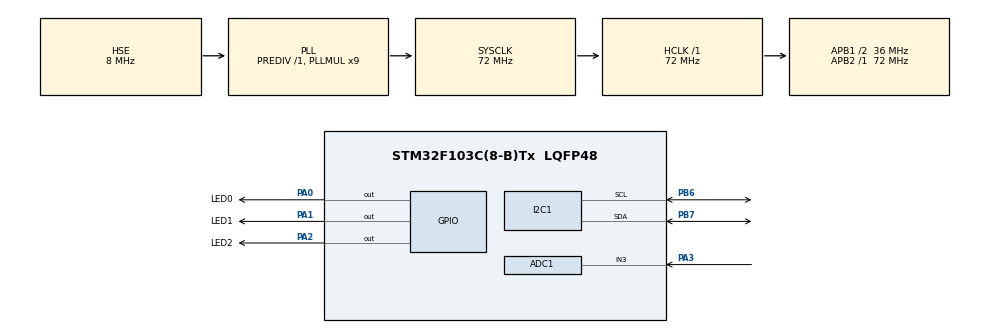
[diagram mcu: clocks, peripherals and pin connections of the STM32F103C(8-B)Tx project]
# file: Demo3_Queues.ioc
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ADC1.Channel-3\#ChannelRegularConversion=ADC_CHANNEL_3
ADC1.ContinuousConvMode=ENABLE
ADC1.NbrOfConversionFlag=1
ADC1.Rank-3\#ChannelRegularConversion=1
ADC1.SamplingTime-3\#ChannelRegularConversion=ADC_SAMPLETIME_1CYCLE_5
ADC1.master=1
FREERTOS.Queues01=xLightQueue,10,uint16_t,0,Static,xLightQueueBuffer,xLightQueueControlBlock;xDisplayQueue,5,DisplayData_t,0,Static,xDisplayQueueBuffer,xDisplayQueueControlBlock
FREERTOS.Tasks01=Sensor_Task,24,128,StarSensorTask,Default,NULL,Static,Sensor_TaskBuffer,Sensor_TaskControlBlock;Process_Task,8,128,StartProcessTask,Default,NULL,Static,Process_TaskBuffer,Process_TaskControlBlock;Display_Task,8,128,StartDisplayTask,Default,NULL,Static,Display_TaskBuffer,Display_TaskControlBlock
FREERTOS.configUSE_NEWLIB_REENTRANT=1
I2C1.I2C_Mode=I2C_Fast
Mcu.Family=STM32F1
Mcu.Name=STM32F103C(8-B)Tx
Mcu.Package=LQFP48
NVIC.PriorityGroup=NVIC_PRIORITYGROUP_4
NVIC.TIM2_IRQn=true\:15\:0\:false\:false\:true\:false\:false\:true\:true
NVIC.TimeBase=TIM2_IRQn
NVIC.TimeBaseIP=TIM2
PA0-WKUP.GPIO_Label=LED0
PA0-WKUP.PinState=GPIO_PIN_SET
PA0-WKUP.Signal=GPIO_Output
PA1.GPIO_Label=LED1
PA1.PinState=GPIO_PIN_SET
PA1.Signal=GPIO_Output
PA13.Mode=Serial_Wire
PA13.Signal=SYS_JTMS-SWDIO
PA14.Mode=Serial_Wire
PA14.Signal=SYS_JTCK-SWCLK
PA2.GPIO_Label=LED2
PA2.PinState=GPIO_PIN_SET
PA2.Signal=GPIO_Output
PA3.Signal=ADCx_IN3
PB6.Mode=I2C
PB6.Signal=I2C1_SCL
PB7.Mode=I2C
PB7.Signal=I2C1_SDA
PD0-OSC_IN.Mode=HSE-External-Oscillator
PD0-OSC_IN.Signal=RCC_OSC_IN
PD1-OSC_OUT.Mode=HSE-External-Oscillator
PD1-OSC_OUT.Signal=RCC_OSC_OUT
ProjectManager.HeapSize=0x200
ProjectManager.StackSize=0x400
ProjectManager.TargetToolchain=STM32CubeIDE
RCC.ADCPresc=RCC_ADCPCLK2_DIV6
RCC.AHBFreq_Value=72000000
RCC.APB1CLKDivider=RCC_HCLK_DIV2
RCC.APB1Freq_Value=36000000
RCC.APB1TimFreq_Value=72000000
RCC.APB2Freq_Value=72000000
RCC.APB2TimFreq_Value=72000000
RCC.HCLKFreq_Value=72000000
RCC.PLLMUL=RCC_PLL_MUL9
RCC.PLLSourceVirtual=RCC_PLLSOURCE_HSE
RCC.SYSCLKFreq_VALUE=72000000
RCC.SYSCLKSource=RCC_SYSCLKSOURCE_PLLCLK
RCC.USBFreq_Value=72000000
SH.ADCx_IN3.0=ADC1_IN3,IN3
VP_FREERTOS_VS_CMSIS_V2.Mode=CMSIS_V2
VP_SYS_VS_tim2.Mode=TIM2
board=custom

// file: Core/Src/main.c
/* USER CODE BEGIN Header */
/**
  ******************************************************************************
  * @file           : main.c
  * @brief          : Main program body
  ******************************************************************************
  * @attention
  *
  * Copyright (c) 2025 STMicroelectronics.
  * All rights reserved.
  *
  * This software is licensed under terms that can be found in the LICENSE file
  * in the root directory of this software component.
  * If no LICENSE file comes with this software, it is provided AS-IS.
  *
  ******************************************************************************
  */
/* USER CODE END Header */
#include "main.h"
#include "cmsis_os.h"
#include "adc.h"
#include "i2c.h"
#include "gpio.h"

/* USER CODE BEGIN Includes */
#include "oled.h"
#include "sensor.h"
/* USER CODE END Includes */

void SystemClock_Config(void);
void MX_FREERTOS_Init(void);

int main(void)
{

  /* MCU Configuration--------------------------------------------------------*/

  /* Reset of all peripherals, Initializes the Flash interface and the Systick. */
  HAL_Init();

  /* Configure the system clock */
  SystemClock_Config();

  /* Initialize all configured peripherals */
  MX_GPIO_Init();
  MX_ADC1_Init();
  MX_I2C1_Init();
  /* USER CODE BEGIN 2 */
  /*光敏电阻ADC初始化*/
  BSP_LightSensor_Init();

  /*OLED初始化*/
  HAL_Delay(20);
  OLED_Init();
  /* USER CODE END 2 */

  /* Init scheduler */
  osKernelInitialize();

  /* Call init function for freertos objects (in cmsis_os2.c) */
  MX_FREERTOS_Init();

  /* Start scheduler */
  osKernelStart();

  /* We should never get here as control is now taken by the scheduler */

  /* Infinite loop */
  while (1)
  {

  }
}

void SystemClock_Config(void)
{
  RCC_OscInitTypeDef RCC_OscInitStruct = {0};
  RCC_ClkInitTypeDef RCC_ClkInitStruct = {0};
  RCC_PeriphCLKInitTypeDef PeriphClkInit = {0};

  /** Initializes the RCC Oscillators according to the specified parameters
  * in the RCC_OscInitTypeDef structure.
  */
  RCC_OscInitStruct.OscillatorType = RCC_OSCILLATORTYPE_HSE;
  RCC_OscInitStruct.HSEState = RCC_HSE_ON;
  RCC_OscInitStruct.HSEPredivValue = RCC_HSE_PREDIV_DIV1;
  RCC_OscInitStruct.HSIState = RCC_HSI_ON;
  RCC_OscInitStruct.PLL.PLLState = RCC_PLL_ON;
  RCC_OscInitStruct.PLL.PLLSource = RCC_PLLSOURCE_HSE;
  RCC_OscInitStruct.PLL.PLLMUL = RCC_PLL_MUL9;
  if (HAL_RCC_OscConfig(&RCC_OscInitStruct) != HAL_OK)
  {
    Error_Handler();
  }

  /** Initializes the CPU, AHB and APB buses clocks
  */
  RCC_ClkInitStruct.ClockType = RCC_CLOCKTYPE_HCLK|RCC_CLOCKTYPE_SYSCLK
                              |RCC_CLOCKTYPE_PCLK1|RCC_CLOCKTYPE_PCLK2;
  RCC_ClkInitStruct.SYSCLKSource = RCC_SYSCLKSOURCE_PLLCLK;
  RCC_ClkInitStruct.AHBCLKDivider = RCC_SYSCLK_DIV1;
  RCC_ClkInitStruct.APB1CLKDivider = RCC_HCLK_DIV2;
  RCC_ClkInitStruct.APB2CLKDivider = RCC_HCLK_DIV1;

  if (HAL_RCC_ClockConfig(&RCC_ClkInitStruct, FLASH_LATENCY_2) != HAL_OK)
  {
    Error_Handler();
  }
  PeriphClkInit.PeriphClockSelection = RCC_PERIPHCLK_ADC;
  PeriphClkInit.AdcClockSelection = RCC_ADCPCLK2_DIV6;
  if (HAL_RCCEx_PeriphCLKConfig(&PeriphClkInit) != HAL_OK)
  {
    Error_Handler();
  }
}

void HAL_TIM_PeriodElapsedCallback(TIM_HandleTypeDef *htim)
{
  if (htim->Instance == TIM2) {
    HAL_IncTick();
  }
}

void Error_Handler(void)
{
  __disable_irq();
  while (1)
  {
  }
}

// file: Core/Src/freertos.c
/* USER CODE BEGIN Header */
/**
  ******************************************************************************
  * File Name          : freertos.c
  * Description        : Code for freertos applications
  ******************************************************************************
  * @attention
  *
  * Copyright (c) 2025 STMicroelectronics.
  * All rights reserved.
  *
  * This software is licensed under terms that can be found in the LICENSE file
  * in the root directory of this software component.
  * If no LICENSE file comes with this software, it is provided AS-IS.
  *
  ******************************************************************************
  */
/* USER CODE END Header */

#include "FreeRTOS.h"
#include "task.h"
#include "main.h"
#include "cmsis_os.h"

/* USER CODE BEGIN Includes */
#include <stdio.h>

#include "oled.h"
#include "led.h"
#include "sensor.h"
#include "queue.h"
/* USER CODE END Includes */

typedef StaticTask_t osStaticThreadDef_t;
typedef StaticQueue_t osStaticMessageQDef_t;

/* USER CODE BEGIN Variables */
/* 显示数据结构体 */
typedef struct {
  uint16_t light_value;
  uint8_t led_status;
} DisplayData_t;

// 在 Process_Task 中定义校准值
const uint16_t ADC_MAX = 3800;  // 全暗时的ADC值
const uint16_t ADC_MIN = 200;   // 全亮时的ADC值

/* USER CODE END Variables */
/* Definitions for Sensor_Task */
osThreadId_t Sensor_TaskHandle;
uint32_t Sensor_TaskBuffer[ 128 ];
osStaticThreadDef_t Sensor_TaskControlBlock;
const osThreadAttr_t Sensor_Task_attributes = {
  .name = "Sensor_Task",
  .cb_mem = &Sensor_TaskControlBlock,
  .cb_size = sizeof(Sensor_TaskControlBlock),
  .stack_mem = &Sensor_TaskBuffer[0],
  .stack_size = sizeof(Sensor_TaskBuffer),
  .priority = (osPriority_t) osPriorityNormal,
};
/* Definitions for Process_Task */
osThreadId_t Process_TaskHandle;
uint32_t Process_TaskBuffer[ 128 ];
osStaticThreadDef_t Process_TaskControlBlock;
const osThreadAttr_t Process_Task_attributes = {
  .name = "Process_Task",
  .cb_mem = &Process_TaskControlBlock,
  .cb_size = sizeof(Process_TaskControlBlock),
  .stack_mem = &Process_TaskBuffer[0],
  .stack_size = sizeof(Process_TaskBuffer),
  .priority = (osPriority_t) osPriorityLow,
};
/* Definitions for Display_Task */
osThreadId_t Display_TaskHandle;
uint32_t Display_TaskBuffer[ 128 ];
osStaticThreadDef_t Display_TaskControlBlock;
const osThreadAttr_t Display_Task_attributes = {
  .name = "Display_Task",
  .cb_mem = &Display_TaskControlBlock,
  .cb_size = sizeof(Display_TaskControlBlock),
  .stack_mem = &Display_TaskBuffer[0],
  .stack_size = sizeof(Display_TaskBuffer),
  .priority = (osPriority_t) osPriorityLow,
};
/* Definitions for xLightQueue */
osMessageQueueId_t xLightQueueHandle;
uint8_t xLightQueueBuffer[ 10 * sizeof( uint16_t ) ];
osStaticMessageQDef_t xLightQueueControlBlock;
const osMessageQueueAttr_t xLightQueue_attributes = {
  .name = "xLightQueue",
  .cb_mem = &xLightQueueControlBlock,
  .cb_size = sizeof(xLightQueueControlBlock),
  .mq_mem = &xLightQueueBuffer,
  .mq_size = sizeof(xLightQueueBuffer)
};
/* Definitions for xDisplayQueue */
osMessageQueueId_t xDisplayQueueHandle;
uint8_t xDisplayQueueBuffer[ 5 * sizeof( DisplayData_t ) ];
osStaticMessageQDef_t xDisplayQueueControlBlock;
const osMessageQueueAttr_t xDisplayQueue_attributes = {
  .name = "xDisplayQueue",
  .cb_mem = &xDisplayQueueControlBlock,
  .cb_size = sizeof(xDisplayQueueControlBlock),
  .mq_mem = &xDisplayQueueBuffer,
  .mq_size = sizeof(xDisplayQueueBuffer)
};

/* USER CODE BEGIN FunctionPrototypes */
static uint8_t CalculateDarknessPercent(uint16_t adc_value);

/* USER CODE END FunctionPrototypes */

void StarSensorTask(void *argument);
void StartProcessTask(void *argument);
void StartDisplayTask(void *argument);
static void DrawCoordinateGrid(uint8_t start_y, uint8_t height);

void MX_FREERTOS_Init(void); /* (MISRA C 2004 rule 8.1) */

void MX_FREERTOS_Init(void) {

  /* Create the queue(s) */
  /* creation of xLightQueue */
  xLightQueueHandle = osMessageQueueNew (10, sizeof(uint16_t), &xLightQueue_attributes);

  /* creation of xDisplayQueue */
  xDisplayQueueHandle = osMessageQueueNew (5, sizeof(DisplayData_t), &xDisplayQueue_attributes);

  /* Create the thread(s) */
  /* creation of Sensor_Task */
  Sensor_TaskHandle = osThreadNew(StarSensorTask, NULL, &Sensor_Task_attributes);

  /* creation of Process_Task */
  Process_TaskHandle = osThreadNew(StartProcessTask, NULL, &Process_Task_attributes);

  /* creation of Display_Task */
  Display_TaskHandle = osThreadNew(StartDisplayTask, NULL, &Display_Task_attributes);

}

void StarSensorTask(void *argument)
{
  /* USER CODE BEGIN StarSensorTask */
  uint16_t adc_value;
  /* Infinite loop */
  for (;;) {
    // 读取滤波后的光强数据
    adc_value = BSP_LightSensor_ReadFiltered();
    // 发送到队列（非阻塞，超时100ms）
    if (xQueueSend(xLightQueueHandle, &adc_value, pdMS_TO_TICKS(100)) != pdPASS) {
      // 处理队列满错误（如LED闪烁报警）
    }
    osDelay(pdMS_TO_TICKS(100)); //100ms采样周期
  }
  /* USER CODE END StarSensorTask */
}

void StartProcessTask(void *argument)
{
  /* USER CODE BEGIN StartProcessTask */
  DisplayData_t display_data;
  uint16_t adc_value;
  /* Infinite loop */
  for (;;) {
    if (xQueueReceive(xLightQueueHandle, &adc_value, portMAX_DELAY) == pdPASS) {
      // 关闭所有LED
      LED_Off(0);
      LED_Off(1);
      LED_Off(2);

      // 计算光照强度百分比（值越大，光照越弱），带饱和与下限保护
      uint8_t darkness_percent = CalculateDarknessPercent(adc_value);
      // uint8_t darkness_percent = (adc_value - ADC_MIN) * 100 / (ADC_MAX - ADC_MIN);

      // 根据黑暗百分比点亮LED
      if (darkness_percent >= 75) {      // 全暗：三灯全亮
        LED_On(0);
        LED_On(1);
        LED_On(2);
        display_data.led_status = 0x07; // 二进制 00000111
      } else if (darkness_percent >= 50) { // 较暗：亮两灯
        LED_On(0);
        LED_On(1);
        display_data.led_status = 0x03;  // 00000011
      } else if (darkness_percent >= 25) { // 中等：亮一灯
        LED_On(0);
        display_data.led_status = 0x01;  // 00000001
      } else {                            // 全亮：全灭
        display_data.led_status = 0x00;  // 00000000
      }

      // 发送数据到显示队列
      display_data.light_value = adc_value;
      xQueueSend(xDisplayQueueHandle, &display_data, 0);
    }
  }
  /* USER CODE END StartProcessTask */
}

/* USER CODE END PrivateFunctions */

void StartDisplayTask(void *argument)
{
  /* USER CODE BEGIN StartDisplayTask */
  // 定义显示相关的变量
  DisplayData_t display_data;         // 显示任务需要的数据（光强 + LED 状态）
  char str_buf[16];                   // 百分比字符串缓冲区
  static uint8_t history_index = 0;   // 光强曲线的写入索引
  static uint8_t light_history[128] = {0}; // 存储最近 128 次采样的映射值
  const ASCIIFont *small_font = &afont8x6; // 使用 6x8 字体显示顶部文字

  // 曲线显示区域参数定义
  const uint8_t graph_start_y = 16;   // 曲线区域起始y坐标
  const uint8_t graph_height = 48;    // 曲线区域高度
  const uint8_t graph_end_y = graph_start_y + graph_height; // 曲线区域结束y坐标

  // 初始化OLED显示
  OLED_NewFrame();                    // 创建新的显示帧
  OLED_PrintASCIIString(0, 0, "Dark:", small_font, OLED_COLOR_NORMAL); // 显示固定标签"Dark:"

  // 绘制初始坐标网格
  // DrawCoordinateGrid(graph_start_y, graph_height);

  OLED_ShowFrame();                   // 将帧内容显示到OLED屏幕上

  // 任务主循环
  for (;;) {
    // 从显示队列接收数据，无限等待直到有数据
    if (xQueueReceive(xDisplayQueueHandle, &display_data, portMAX_DELAY) == pdPASS) {
      // 1. 计算光强对应的黑暗百分比
      uint8_t darkness = CalculateDarknessPercent(display_data.light_value);
      // 将百分比转换为字符串，格式化为三位数加百分号
      snprintf(str_buf, sizeof(str_buf), "%3d%%", darkness);

      // 计算显示位置参数
      const uint8_t label_width = 5 * small_font->w;      // "Dark:"标签的宽度
      const uint8_t value_x = label_width;                // 百分比数值的起始x坐标
      const uint8_t value_width = 4 * small_font->w;      // 百分比数值的宽度

      // 2. 刷新"百分比"显示区域
      // 先用反色矩形清除原来的显示区域
      OLED_DrawFilledRectangle(value_x, 0, value_width - 1, small_font->h, OLED_COLOR_REVERSED);
      // 显示新的百分比数值
      OLED_PrintASCIIString(value_x, 0, str_buf, small_font, OLED_COLOR_NORMAL);

      // 3. 刷新三个小圆形LED指示灯的显示
      const uint8_t led_radius = 2;                       // LED圆形半径
      const uint8_t led_spacing = 10;                     // LED之间的间距
      const uint8_t led_start_x = value_x + value_width + 20; // 第一个LED的x坐标
      const uint8_t led_y = 2;                            // LED的y坐标

      const uint8_t leftmost_x = led_start_x - led_radius;    // LED区域最左侧坐标
      const uint8_t rightmost_x = led_start_x + 2 * (2 * led_radius + led_spacing) + led_radius; // LED区域最右侧坐标
      const uint8_t led_area_w = rightmost_x - leftmost_x + 1; // LED显示区域的宽度
      const uint8_t led_area_h = (uint8_t)(2 * led_radius + 1); // LED显示区域的高度

      // 清除LED显示区域
      OLED_DrawFilledRectangle(leftmost_x, led_y - led_radius, led_area_w - 1, led_area_h, OLED_COLOR_REVERSED);

      // 绘制三个LED指示灯
      for (uint8_t i = 0; i < 3; i++) {
        uint8_t cx = led_start_x + i * (2 * led_radius + led_spacing); // 计算每个LED的x中心坐标
        if (display_data.led_status & (1 << i)) {
          // 如果对应位为1，显示点亮的LED（实心圆）
          OLED_DrawFilledCircle(cx, led_y, led_radius, OLED_COLOR_NORMAL);
        } else {
          // 如果对应位为0，显示熄灭的LED（空心圆）
          OLED_DrawCircle(cx, led_y, led_radius, OLED_COLOR_NORMAL);
        }
      }

      // 4. 更新光强曲线缓冲并重新绘制
      // 将ADC数值(0-4095)映射到显示高度(0-graph_height)
      int32_t scaled = (int32_t)display_data.light_value * graph_height / 4095;
      // 反转y轴方向，使光强越强，曲线越低（符合直觉）
      int32_t curve_value = graph_height - scaled;
      // 限制曲线值在有效范围内
      if (curve_value < 0) {
        curve_value = 0;
      } else if (curve_value > graph_height) {
        curve_value = graph_height;
      }

      // 对当前采样点进行平滑处理
      // 如果历史数组中已有数据，计算与前一个值的平均值以平滑过渡
      if (history_index > 0 || light_history[127] > 0) {
        uint8_t prev_idx = (history_index == 0) ? 127 : (history_index - 1);
        uint8_t prev_value = light_history[prev_idx];
        // 限制变化率，使曲线平滑
        int16_t diff = (int16_t)curve_value - prev_value;
        if (diff > 3) curve_value = prev_value + 3;
        else if (diff < -3) curve_value = prev_value - 3;
      }

      // 存储当前采样点到历史数组
      light_history[history_index] = (uint8_t)curve_value;
      // 循环更新索引，形成环形缓冲区
      history_index = (history_index + 1) % 128;

      // 清除曲线显示区域，保留网格线
      OLED_DrawFilledRectangle(0, graph_start_y, 127, graph_height, OLED_COLOR_REVERSED);

      // 重新绘制坐标网格
      // DrawCoordinateGrid(graph_start_y, graph_height);

      // 绘制光强曲线，使用线段连接点，而不仅仅是点
      uint8_t prev_x = 0;
      uint8_t prev_y = graph_start_y + light_history[(history_index) % 128];

      for (uint8_t x = 1; x < 128; x++) {
        // 计算对应的历史数据索引
        uint8_t data_idx = (history_index + x) % 128;
        // 计算y坐标（曲线上的点）
        uint8_t y = graph_start_y + light_history[data_idx];

        // 确保y在有效范围内并绘制线段
        if (y < 64 && prev_y < 64) {
          // 绘制从上一点到当前点的线段
          OLED_DrawLine(prev_x, prev_y, x, y, OLED_COLOR_NORMAL);
        }

        // 更新上一点的坐标
        prev_x = x;
        prev_y = y;
      }

      // 5. 将缓冲区一次性输出到屏幕，避免闪烁
      OLED_ShowFrame();
    }
  }
  /* USER CODE END StartDisplayTask */
}

/* USER CODE BEGIN Application */

static uint8_t CalculateDarknessPercent(uint16_t adc_value)
{
  /* USER CODE BEGIN StarSensorTask */
  int32_t clamped = (int32_t)adc_value;
  const int32_t min_val = (int32_t)ADC_MIN;
  const int32_t max_val = (int32_t)ADC_MAX;
  int32_t range = max_val - min_val;
  if (range <= 0) {
    return 0;
  }
  if (clamped < min_val) {
    clamped = min_val;
  } else if (clamped > max_val) {
    clamped = max_val;
  }
  return (uint8_t)(((clamped - min_val) * 100) / range);
  /* USER CODE END StarSensorTask */
}

// 绘制坐标网格函数
static void DrawCoordinateGrid(uint8_t start_y, uint8_t height) {
  // 绘制水平网格线（每隔12个像素）
  for (uint8_t i = 0; i <= height; i += 12) {
    // 虚线效果
    for (uint8_t x = 0; x < 128; x += 4) {
      OLED_SetPixel(x, start_y + i, OLED_COLOR_NORMAL);
      OLED_SetPixel(x+1, start_y + i, OLED_COLOR_NORMAL);
    }
  }

  // 绘制垂直网格线（每隔16个像素）
  for (uint8_t i = 0; i < 128; i += 16) {
    // 虚线效果
    for (uint8_t y = start_y; y < start_y + height; y += 4) {
      OLED_SetPixel(i, y, OLED_COLOR_NORMAL);
      OLED_SetPixel(i, y+1, OLED_COLOR_NORMAL);
    }
  }

  // 绘制外框
  OLED_DrawRectangle(0, start_y, 127, start_y + height - 1, OLED_COLOR_NORMAL);
}
/* USER CODE END Application */
